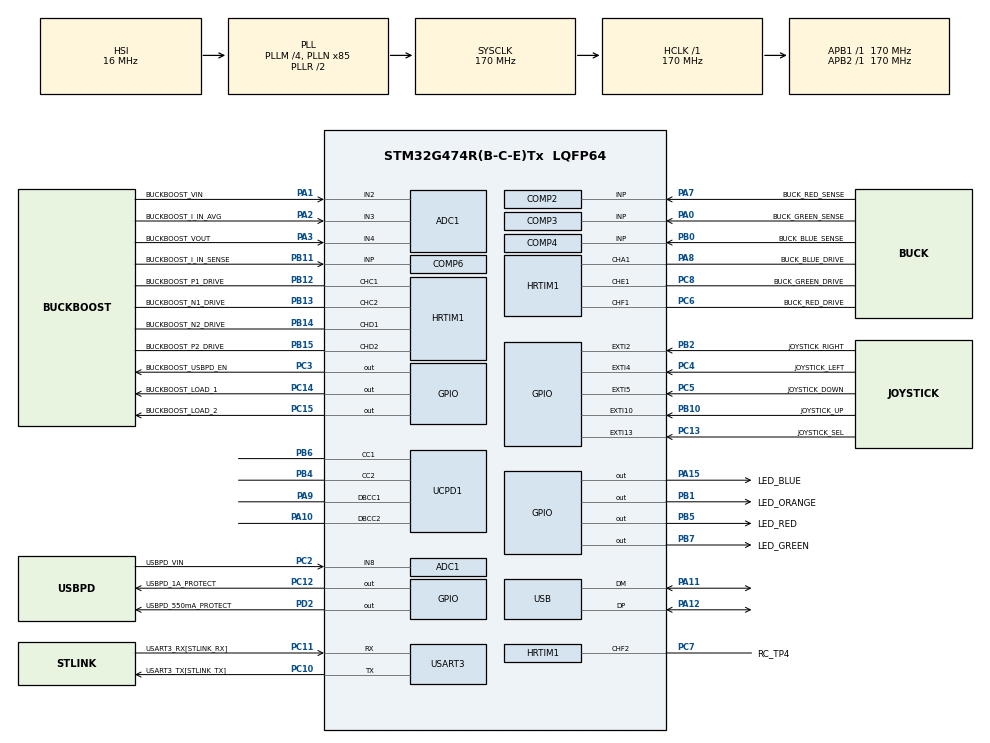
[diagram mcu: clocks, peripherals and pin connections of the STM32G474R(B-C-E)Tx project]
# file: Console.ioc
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ADC1.Channel-0\#ChannelRegularConversion=ADC_CHANNEL_8
ADC1.NbrOfConversionFlag=1
ADC1.OffsetNumber-0\#ChannelRegularConversion=ADC_OFFSET_NONE
ADC1.Rank-0\#ChannelRegularConversion=1
ADC1.SamplingTime-0\#ChannelRegularConversion=ADC_SAMPLETIME_2CYCLES_5
ADC1.master=1
DAC3.DAC_Channel-DAC_OUT2_Int=DAC_CHANNEL_2
FREERTOS.BinarySemaphores01=semUart,Static,semUartControlBlock,Depleted
FREERTOS.Mutexes01=mutexUart,Static,mutexUartControlBlock,Available
FREERTOS.Queues01=queueLogger,32,LogMessage,0,Static,queueLoggerBuffer,queueLoggerControlBlock;queueUart,64,uint8_t,0,Static,queueUartBuffer,queueUartControlBlock
FREERTOS.Tasks01=task0,24,128,startTask0,Default,NULL,Static,task0Buffer,task0ControlBlock;task1,24,128,startTask1,Default,NULL,Static,task1Buffer,task1ControlBlock;task2,24,128,startTask2,Default,NULL,Static,task2Buffer,task2ControlBlock;task3,16,128,startTask3,Default,NULL,Static,task3Buffer,task3ControlBlock;loggerTask,8,256,startLoggerTask,Default,NULL,Static,loggerTaskBuffer,loggerTaskControlBlock;consoleTask,8,128,startConsoleTask,Default,NULL,Static,consoleTaskBuffer,consoleTaskControlBlock
Mcu.Family=STM32G4
Mcu.Name=STM32G474R(B-C-E)Tx
Mcu.Package=LQFP64
NVIC.ADC1_2_IRQn=true\:5\:0\:false\:false\:true\:true\:true\:true\:true
NVIC.EXTI15_10_IRQn=true\:5\:0\:false\:false\:true\:true\:true\:true\:true
NVIC.EXTI2_IRQn=true\:5\:0\:false\:false\:true\:true\:true\:true\:true
NVIC.EXTI4_IRQn=true\:5\:0\:false\:false\:true\:true\:true\:true\:true
NVIC.EXTI9_5_IRQn=true\:5\:0\:false\:false\:true\:true\:true\:true\:true
NVIC.HRTIM1_Master_IRQn=true\:5\:0\:false\:false\:true\:true\:true\:true\:true
NVIC.HRTIM1_TIMF_IRQn=true\:5\:0\:false\:false\:true\:true\:true\:true\:true
NVIC.PriorityGroup=NVIC_PRIORITYGROUP_4
NVIC.TIM6_DAC_IRQn=true\:15\:0\:false\:false\:true\:false\:false\:true\:true
NVIC.TimeBase=TIM6_DAC_IRQn
NVIC.TimeBaseIP=TIM6
NVIC.USART3_IRQn=true\:5\:0\:false\:false\:true\:true\:true\:true\:true
NVIC.USB_HP_IRQn=true\:5\:0\:false\:false\:true\:true\:true\:true\:true
PA0.GPIO_Label=BUCK_GREEN_SENSE
PA0.Mode=INP
PA0.Signal=COMP3_INP
PA1.GPIO_Label=BUCKBOOST_VIN
PA1.Mode=IN2-Single-Ended
PA1.Signal=ADC1_IN2
PA10.Mode=EnableDeadBattery
PA10.Signal=UCPD1_DBCC2
PA11.Mode=Device
PA11.Signal=USB_DM
PA12.Mode=Device
PA12.Signal=USB_DP
PA13.Mode=Serial_Wire
PA13.Signal=SYS_JTMS-SWDIO
PA14.Mode=Serial_Wire
PA14.Signal=SYS_JTCK-SWCLK
PA15.GPIO_Label=LED_BLUE
PA15.Signal=GPIO_Output
PA2.GPIO_Label=BUCKBOOST_I_IN_AVG
PA2.Mode=IN3-Single-Ended
PA2.Signal=ADC1_IN3
PA3.GPIO_Label=BUCKBOOST_VOUT
PA3.Mode=IN4-Single-Ended
PA3.Signal=ADC1_IN4
PA7.GPIO_Label=BUCK_RED_SENSE
PA7.Mode=INP
PA7.Signal=COMP2_INP
PA8.GPIO_Label=BUCK_BLUE_DRIVE
PA8.Mode=Output_TA1
PA8.Signal=HRTIM1_CHA1
PA9.Mode=EnableDeadBattery
PA9.Signal=UCPD1_DBCC1
PB0.GPIO_Label=BUCK_BLUE_SENSE
PB0.Mode=INP
PB0.Signal=COMP4_INP
PB1.GPIO_Label=LED_ORANGE
PB1.Signal=GPIO_Output
PB10.GPIO_Label=JOYSTICK_UP
PB10.GPIO_PuPd=GPIO_PULLUP
PB10.Signal=GPXTI10
PB11.GPIO_Label=BUCKBOOST_I_IN_SENSE
PB11.Mode=INP
PB11.Signal=COMP6_INP
PB12.GPIO_Label=BUCKBOOST_P1_DRIVE
PB12.Mode=Output_TC1TC2
PB12.Signal=HRTIM1_CHC1
PB13.GPIO_Label=BUCKBOOST_N1_DRIVE
PB13.Mode=Output_TC1TC2
PB13.Signal=HRTIM1_CHC2
PB14.GPIO_Label=BUCKBOOST_N2_DRIVE
PB14.Mode=Output_TD1TD2
PB14.Signal=HRTIM1_CHD1
PB15.GPIO_Label=BUCKBOOST_P2_DRIVE
PB15.Mode=Output_TD1TD2
PB15.Signal=HRTIM1_CHD2
PB2.GPIO_Label=JOYSTICK_RIGHT
PB2.GPIO_PuPd=GPIO_PULLUP
PB2.Signal=GPXTI2
PB3.Signal=SYS_JTDO-SWO
PB4.Mode=Sink_AllSignals
PB4.Signal=UCPD1_CC2
PB5.GPIO_Label=LED_RED
PB5.Signal=GPIO_Output
PB6.Mode=Sink_AllSignals
PB6.Signal=UCPD1_CC1
PB7.GPIO_Label=LED_GREEN
PB7.Signal=GPIO_Output
PC10.GPIO_Label=USART3_TX[STLINK_TX]
PC10.GPIO_Speed=GPIO_SPEED_FREQ_MEDIUM
PC10.Mode=Asynchronous
PC10.Signal=USART3_TX
PC11.GPIO_Label=USART3_RX[STLINK_RX]
PC11.GPIO_Speed=GPIO_SPEED_FREQ_MEDIUM
PC11.Mode=Asynchronous
PC11.Signal=USART3_RX
PC12.GPIO_Label=USBPD_1A_PROTECT
PC12.Signal=GPIO_Output
PC13.GPIO_Label=JOYSTICK_SEL
PC13.GPIO_PuPd=GPIO_PULLUP
PC13.Signal=GPXTI13
PC14-OSC32_IN.GPIO_Label=BUCKBOOST_LOAD_1
PC14-OSC32_IN.Signal=GPIO_Output
PC15-OSC32_OUT.GPIO_Label=BUCKBOOST_LOAD_2
PC15-OSC32_OUT.Signal=GPIO_Output
PC2.GPIO_Label=USBPD_VIN
PC2.Mode=IN8-Single-Ended
PC2.Signal=ADC1_IN8
PC3.GPIO_Label=BUCKBOOST_USBPD_EN
PC3.Signal=GPIO_Output
PC4.GPIO_Label=JOYSTICK_LEFT
PC4.GPIO_PuPd=GPIO_PULLUP
PC4.Signal=GPXTI4
PC5.GPIO_Label=JOYSTICK_DOWN
PC5.GPIO_PuPd=GPIO_PULLUP
PC5.Signal=GPXTI5
PC6.GPIO_Label=BUCK_RED_DRIVE
PC6.Mode=Output_TF1TF2
PC6.Signal=HRTIM1_CHF1
PC7.GPIO_Label=RC_TP4
PC7.Mode=Output_TF1TF2
PC7.Signal=HRTIM1_CHF2
PC8.GPIO_Label=BUCK_GREEN_DRIVE
PC8.Mode=Output_TE1
PC8.Signal=HRTIM1_CHE1
PD2.GPIO_Label=USBPD_550mA_PROTECT
PD2.Signal=GPIO_Output
ProjectManager.HeapSize=0x200
ProjectManager.StackSize=0x400
ProjectManager.TargetToolchain=CMake
RCC.ADC12Freq_Value=170000000
RCC.ADC345Freq_Value=170000000
RCC.AHBFreq_Value=170000000
RCC.APB1Freq_Value=170000000
RCC.APB1TimFreq_Value=170000000
RCC.APB2Freq_Value=170000000
RCC.APB2TimFreq_Value=170000000
RCC.CK48CLockSelection=RCC_USBCLKSOURCE_HSI48
RCC.CortexFreq_Value=170000000
RCC.EXTERNAL_CLOCK_VALUE=12288000
RCC.HCLKFreq_Value=170000000
RCC.HSE_VALUE=8000000
RCC.HSI48_VALUE=48000000
RCC.HSI_VALUE=16000000
RCC.LSE_VALUE=32768
RCC.PLLM=RCC_PLLM_DIV4
RCC.PLLN=85
RCC.PLLP=RCC_PLLP_DIV8
RCC.PLLQ=RCC_PLLQ_DIV8
RCC.SYSCLKFreq_VALUE=170000000
RCC.SYSCLKSource=RCC_SYSCLKSOURCE_PLLCLK
RCC.USBFreq_Value=48000000
RCC.VCOOutputFreq_Value=340000000
USART3.ClockPrescaler=PRESCALER_DIV4
USART3.VirtualMode-Asynchronous=VM_ASYNC
USART3.WordLength=WORDLENGTH_8B
VP_COMP2_VS_DAC3OUT2.Mode=INM_DAC3OUT2
VP_COMP3_VS_DAC3OUT1.Mode=INM_DAC3OUT1
VP_COMP4_VS_DAC1OUT1.Mode=INM_DAC1OUT1
VP_COMP6_VS_DAC2OUT1.Mode=INM_DAC2OUT1
VP_DAC1_VS_DACI1.Mode=DAC_OUT1_Int
VP_DAC2_VS_DACI1.Mode=DAC_OUT1_Int
VP_DAC3_VS_DACI1.Mode=DAC_OUT1_Int
VP_DAC3_VS_DACI2.Mode=DAC_OUT2_Int
VP_FREERTOS_VS_CMSIS_V2.Mode=CMSIS_V2
VP_SYS_VS_DBSignals.Mode=DisableDeadBatterySignals
VP_SYS_VS_tim6.Mode=TIM6
board=B-G474E-DPOW1

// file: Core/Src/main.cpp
/* USER CODE BEGIN Header */
/**
 ******************************************************************************
 * @file           : main.c
 * @brief          : Main program body
 ******************************************************************************
 * @attention
 *
 * Copyright (c) 2025 STMicroelectronics.
 * All rights reserved.
 *
 * This software is licensed under terms that can be found in the LICENSE file
 * in the root directory of this software component.
 * If no LICENSE file comes with this software, it is provided AS-IS.
 *
 ******************************************************************************
 */
/* USER CODE END Header */
#include "main.h"
#include "cmsis_os.h"

/* USER CODE BEGIN Includes */

#include "logger.h"
#include "uart.h"
#include "console.h"

/* USER CODE END Includes */

typedef StaticTask_t osStaticThreadDef_t;
typedef StaticQueue_t osStaticMessageQDef_t;
typedef StaticSemaphore_t osStaticMutexDef_t;
typedef StaticSemaphore_t osStaticSemaphoreDef_t;

ADC_HandleTypeDef hadc1;

COMP_HandleTypeDef hcomp2;
COMP_HandleTypeDef hcomp3;
COMP_HandleTypeDef hcomp4;
COMP_HandleTypeDef hcomp6;

DAC_HandleTypeDef hdac1;
DAC_HandleTypeDef hdac2;
DAC_HandleTypeDef hdac3;

HRTIM_HandleTypeDef hhrtim1;

UART_HandleTypeDef huart3;

PCD_HandleTypeDef hpcd_USB_FS;

/* Definitions for task0 */
osThreadId_t task0Handle;
uint32_t task0Buffer[128];
osStaticThreadDef_t task0ControlBlock;
const osThreadAttr_t task0_attributes = {
	.name = "task0",
	.cb_mem = &task0ControlBlock,
	.cb_size = sizeof(task0ControlBlock),
	.stack_mem = &task0Buffer[0],
	.stack_size = sizeof(task0Buffer),
	.priority = (osPriority_t)osPriorityNormal,
};
/* Definitions for task1 */
osThreadId_t task1Handle;
uint32_t task1Buffer[128];
osStaticThreadDef_t task1ControlBlock;
const osThreadAttr_t task1_attributes = {
	.name = "task1",
	.cb_mem = &task1ControlBlock,
	.cb_size = sizeof(task1ControlBlock),
	.stack_mem = &task1Buffer[0],
	.stack_size = sizeof(task1Buffer),
	.priority = (osPriority_t)osPriorityNormal,
};
/* Definitions for task2 */
osThreadId_t task2Handle;
uint32_t task2Buffer[128];
osStaticThreadDef_t task2ControlBlock;
const osThreadAttr_t task2_attributes = {
	.name = "task2",
	.cb_mem = &task2ControlBlock,
	.cb_size = sizeof(task2ControlBlock),
	.stack_mem = &task2Buffer[0],
	.stack_size = sizeof(task2Buffer),
	.priority = (osPriority_t)osPriorityNormal,
};
/* Definitions for task3 */
osThreadId_t task3Handle;
uint32_t task3Buffer[128];
osStaticThreadDef_t task3ControlBlock;
const osThreadAttr_t task3_attributes = {
	.name = "task3",
	.cb_mem = &task3ControlBlock,
	.cb_size = sizeof(task3ControlBlock),
	.stack_mem = &task3Buffer[0],
	.stack_size = sizeof(task3Buffer),
	.priority = (osPriority_t)osPriorityBelowNormal,
};
/* Definitions for loggerTask */
osThreadId_t loggerTaskHandle;
uint32_t loggerTaskBuffer[256];
osStaticThreadDef_t loggerTaskControlBlock;
const osThreadAttr_t loggerTask_attributes = {
	.name = "loggerTask",
	.cb_mem = &loggerTaskControlBlock,
	.cb_size = sizeof(loggerTaskControlBlock),
	.stack_mem = &loggerTaskBuffer[0],
	.stack_size = sizeof(loggerTaskBuffer),
	.priority = (osPriority_t)osPriorityLow,
};
/* Definitions for consoleTask */
osThreadId_t consoleTaskHandle;
uint32_t consoleTaskBuffer[128];
osStaticThreadDef_t consoleTaskControlBlock;
const osThreadAttr_t consoleTask_attributes = {
	.name = "consoleTask",
	.cb_mem = &consoleTaskControlBlock,
	.cb_size = sizeof(consoleTaskControlBlock),
	.stack_mem = &consoleTaskBuffer[0],
	.stack_size = sizeof(consoleTaskBuffer),
	.priority = (osPriority_t)osPriorityLow,
};
/* Definitions for queueLogger */
osMessageQueueId_t queueLoggerHandle;
uint8_t queueLoggerBuffer[32 * sizeof(LogMessage)];
osStaticMessageQDef_t queueLoggerControlBlock;
const osMessageQueueAttr_t queueLogger_attributes = {
	.name = "queueLogger",
	.cb_mem = &queueLoggerControlBlock,
	.cb_size = sizeof(queueLoggerControlBlock),
	.mq_mem = &queueLoggerBuffer,
	.mq_size = sizeof(queueLoggerBuffer)};
/* Definitions for queueUart */
osMessageQueueId_t queueUartHandle;
uint8_t queueUartBuffer[64 * sizeof(uint8_t)];
osStaticMessageQDef_t queueUartControlBlock;
const osMessageQueueAttr_t queueUart_attributes = {
	.name = "queueUart",
	.cb_mem = &queueUartControlBlock,
	.cb_size = sizeof(queueUartControlBlock),
	.mq_mem = &queueUartBuffer,
	.mq_size = sizeof(queueUartBuffer)};
/* Definitions for mutexUart */
osMutexId_t mutexUartHandle;
osStaticMutexDef_t mutexUartControlBlock;
const osMutexAttr_t mutexUart_attributes = {
	.name = "mutexUart",
	.cb_mem = &mutexUartControlBlock,
	.cb_size = sizeof(mutexUartControlBlock),
};
/* Definitions for semUart */
osSemaphoreId_t semUartHandle;
osStaticSemaphoreDef_t semUartControlBlock;
const osSemaphoreAttr_t semUart_attributes = {
	.name = "semUart",
	.cb_mem = &semUartControlBlock,
	.cb_size = sizeof(semUartControlBlock),
};

void SystemClock_Config(void);
static void MX_GPIO_Init(void);
static void MX_ADC1_Init(void);
static void MX_COMP2_Init(void);
static void MX_COMP3_Init(void);
static void MX_COMP4_Init(void);
static void MX_COMP6_Init(void);
static void MX_DAC1_Init(void);
static void MX_DAC2_Init(void);
static void MX_DAC3_Init(void);
static void MX_HRTIM1_Init(void);
static void MX_UCPD1_Init(void);
static void MX_USART3_UART_Init(void);
static void MX_USB_PCD_Init(void);
void startTask0(void *argument);
void startTask1(void *argument);
void startTask2(void *argument);
void startTask3(void *argument);
void startLoggerTask(void *argument);
void startConsoleTask(void *argument);

/* USER CODE BEGIN 0 */

Uart uart(&huart3);
Console console(uart);

extern "C" int _write(int file, char *ptr, int len)
{
	(void)file;
	uart.transmit(ptr, len);
	return len;
}

/* USER CODE END 0 */

int main(void)
{

	/* MCU Configuration--------------------------------------------------------*/

	/* Reset of all peripherals, Initializes the Flash interface and the Systick. */
	HAL_Init();

	/* Configure the system clock */
	SystemClock_Config();

	/* Initialize all configured peripherals */
	MX_GPIO_Init();
	MX_ADC1_Init();
	MX_COMP2_Init();
	MX_COMP3_Init();
	MX_COMP4_Init();
	MX_COMP6_Init();
	MX_DAC1_Init();
	MX_DAC2_Init();
	MX_DAC3_Init();
	MX_HRTIM1_Init();
	MX_UCPD1_Init();
	MX_USART3_UART_Init();
	MX_USB_PCD_Init();
	/* USER CODE BEGIN 2 */

	LOG_init(&queueLoggerHandle);
	uart.setHandleMutexTx(&mutexUartHandle);
	uart.setHandleQueueRx(&queueUartHandle);
	uart.setHandleSemTx(&semUartHandle);
	uart.init();

	/* USER CODE END 2 */

	/* Init scheduler */
	osKernelInitialize();
	/* Create the mutex(es) */
	/* creation of mutexUart */
	mutexUartHandle = osMutexNew(&mutexUart_attributes);

	semUartHandle = osSemaphoreNew(1, 0, &semUart_attributes);

	/* Create the queue(s) */
	/* creation of queueLogger */
	queueLoggerHandle = osMessageQueueNew(32, sizeof(LogMessage), &queueLogger_attributes);

	queueUartHandle = osMessageQueueNew(64, sizeof(uint8_t), &queueUart_attributes);

	/* Create the thread(s) */
	/* creation of task0 */
	task0Handle = osThreadNew(startTask0, NULL, &task0_attributes);

	/* creation of task1 */
	task1Handle = osThreadNew(startTask1, NULL, &task1_attributes);

	/* creation of task2 */
	task2Handle = osThreadNew(startTask2, NULL, &task2_attributes);

	/* creation of task3 */
	task3Handle = osThreadNew(startTask3, NULL, &task3_attributes);

	/* creation of loggerTask */
	loggerTaskHandle = osThreadNew(startLoggerTask, NULL, &loggerTask_attributes);

	consoleTaskHandle = osThreadNew(startConsoleTask, NULL, &consoleTask_attributes);

	/* Start scheduler */
	osKernelStart();

	/* We should never get here as control is now taken by the scheduler */

	/* Infinite loop */
	while (1)
	{

	}
}

void SystemClock_Config(void)
{
	RCC_OscInitTypeDef RCC_OscInitStruct = {0};
	RCC_ClkInitTypeDef RCC_ClkInitStruct = {0};

	/** Configure the main internal regulator output voltage
	 */
	HAL_PWREx_ControlVoltageScaling(PWR_REGULATOR_VOLTAGE_SCALE1_BOOST);

	/** Initializes the RCC Oscillators according to the specified parameters
	 * in the RCC_OscInitTypeDef structure.
	 */
	RCC_OscInitStruct.OscillatorType = RCC_OSCILLATORTYPE_HSI | RCC_OSCILLATORTYPE_HSI48;
	RCC_OscInitStruct.HSIState = RCC_HSI_ON;
	RCC_OscInitStruct.HSICalibrationValue = RCC_HSICALIBRATION_DEFAULT;
	RCC_OscInitStruct.HSI48State = RCC_HSI48_ON;
	RCC_OscInitStruct.PLL.PLLState = RCC_PLL_ON;
	RCC_OscInitStruct.PLL.PLLSource = RCC_PLLSOURCE_HSI;
	RCC_OscInitStruct.PLL.PLLM = RCC_PLLM_DIV4;
	RCC_OscInitStruct.PLL.PLLN = 85;
	RCC_OscInitStruct.PLL.PLLP = RCC_PLLP_DIV8;
	RCC_OscInitStruct.PLL.PLLQ = RCC_PLLQ_DIV8;
	RCC_OscInitStruct.PLL.PLLR = RCC_PLLR_DIV2;
	if (HAL_RCC_OscConfig(&RCC_OscInitStruct) != HAL_OK)
	{
		Error_Handler();
	}

	/** Initializes the CPU, AHB and APB buses clocks
	 */
	RCC_ClkInitStruct.ClockType = RCC_CLOCKTYPE_HCLK | RCC_CLOCKTYPE_SYSCLK | RCC_CLOCKTYPE_PCLK1 | RCC_CLOCKTYPE_PCLK2;
	RCC_ClkInitStruct.SYSCLKSource = RCC_SYSCLKSOURCE_PLLCLK;
	RCC_ClkInitStruct.AHBCLKDivider = RCC_SYSCLK_DIV1;
	RCC_ClkInitStruct.APB1CLKDivider = RCC_HCLK_DIV1;
	RCC_ClkInitStruct.APB2CLKDivider = RCC_HCLK_DIV1;

	if (HAL_RCC_ClockConfig(&RCC_ClkInitStruct, FLASH_LATENCY_4) != HAL_OK)
	{
		Error_Handler();
	}
}

static void MX_ADC1_Init(void)
{

	ADC_MultiModeTypeDef multimode = {0};
	ADC_ChannelConfTypeDef sConfig = {0};

	/** Common config
	 */
	hadc1.Instance = ADC1;
	hadc1.Init.ClockPrescaler = ADC_CLOCK_SYNC_PCLK_DIV4;
	hadc1.Init.Resolution = ADC_RESOLUTION_12B;
	hadc1.Init.DataAlign = ADC_DATAALIGN_RIGHT;
	hadc1.Init.GainCompensation = 0;
	hadc1.Init.ScanConvMode = ADC_SCAN_DISABLE;
	hadc1.Init.EOCSelection = ADC_EOC_SINGLE_CONV;
	hadc1.Init.LowPowerAutoWait = DISABLE;
	hadc1.Init.ContinuousConvMode = DISABLE;
	hadc1.Init.NbrOfConversion = 1;
	hadc1.Init.DiscontinuousConvMode = DISABLE;
	hadc1.Init.ExternalTrigConv = ADC_SOFTWARE_START;
	hadc1.Init.ExternalTrigConvEdge = ADC_EXTERNALTRIGCONVEDGE_NONE;
	hadc1.Init.DMAContinuousRequests = DISABLE;
	hadc1.Init.Overrun = ADC_OVR_DATA_PRESERVED;
	hadc1.Init.OversamplingMode = DISABLE;
	if (HAL_ADC_Init(&hadc1) != HAL_OK)
	{
		Error_Handler();
	}

	/** Configure the ADC multi-mode
	 */
	multimode.Mode = ADC_MODE_INDEPENDENT;
	if (HAL_ADCEx_MultiModeConfigChannel(&hadc1, &multimode) != HAL_OK)
	{
		Error_Handler();
	}

	/** Configure Regular Channel
	 */
	sConfig.Channel = ADC_CHANNEL_8;
	sConfig.Rank = ADC_REGULAR_RANK_1;
	sConfig.SamplingTime = ADC_SAMPLETIME_2CYCLES_5;
	sConfig.SingleDiff = ADC_SINGLE_ENDED;
	sConfig.OffsetNumber = ADC_OFFSET_NONE;
	sConfig.Offset = 0;
	if (HAL_ADC_ConfigChannel(&hadc1, &sConfig) != HAL_OK)
	{
		Error_Handler();
	}
}

static void MX_COMP2_Init(void)
{

	hcomp2.Instance = COMP2;
	hcomp2.Init.InputPlus = COMP_INPUT_PLUS_IO1;
	hcomp2.Init.InputMinus = COMP_INPUT_MINUS_DAC3_CH2;
	hcomp2.Init.OutputPol = COMP_OUTPUTPOL_NONINVERTED;
	hcomp2.Init.Hysteresis = COMP_HYSTERESIS_NONE;
	hcomp2.Init.BlankingSrce = COMP_BLANKINGSRC_NONE;
	hcomp2.Init.TriggerMode = COMP_TRIGGERMODE_NONE;
	if (HAL_COMP_Init(&hcomp2) != HAL_OK)
	{
		Error_Handler();
	}
}

static void MX_COMP3_Init(void)
{

	hcomp3.Instance = COMP3;
	hcomp3.Init.InputPlus = COMP_INPUT_PLUS_IO1;
	hcomp3.Init.InputMinus = COMP_INPUT_MINUS_DAC3_CH1;
	hcomp3.Init.OutputPol = COMP_OUTPUTPOL_NONINVERTED;
	hcomp3.Init.Hysteresis = COMP_HYSTERESIS_NONE;
	hcomp3.Init.BlankingSrce = COMP_BLANKINGSRC_NONE;
	hcomp3.Init.TriggerMode = COMP_TRIGGERMODE_NONE;
	if (HAL_COMP_Init(&hcomp3) != HAL_OK)
	{
		Error_Handler();
	}
}

static void MX_COMP4_Init(void)
{

	hcomp4.Instance = COMP4;
	hcomp4.Init.InputPlus = COMP_INPUT_PLUS_IO1;
	hcomp4.Init.InputMinus = COMP_INPUT_MINUS_DAC1_CH1;
	hcomp4.Init.OutputPol = COMP_OUTPUTPOL_NONINVERTED;
	hcomp4.Init.Hysteresis = COMP_HYSTERESIS_NONE;
	hcomp4.Init.BlankingSrce = COMP_BLANKINGSRC_NONE;
	hcomp4.Init.TriggerMode = COMP_TRIGGERMODE_NONE;
	if (HAL_COMP_Init(&hcomp4) != HAL_OK)
	{
		Error_Handler();
	}
}

static void MX_COMP6_Init(void)
{

	hcomp6.Instance = COMP6;
	hcomp6.Init.InputPlus = COMP_INPUT_PLUS_IO1;
	hcomp6.Init.InputMinus = COMP_INPUT_MINUS_DAC2_CH1;
	hcomp6.Init.OutputPol = COMP_OUTPUTPOL_NONINVERTED;
	hcomp6.Init.Hysteresis = COMP_HYSTERESIS_NONE;
	hcomp6.Init.BlankingSrce = COMP_BLANKINGSRC_NONE;
	hcomp6.Init.TriggerMode = COMP_TRIGGERMODE_NONE;
	if (HAL_COMP_Init(&hcomp6) != HAL_OK)
	{
		Error_Handler();
	}
}

static void MX_DAC1_Init(void)
{

	DAC_ChannelConfTypeDef sConfig = {0};

	/** DAC Initialization
	 */
	hdac1.Instance = DAC1;
	if (HAL_DAC_Init(&hdac1) != HAL_OK)
	{
		Error_Handler();
	}

	/** DAC channel OUT1 config
	 */
	sConfig.DAC_HighFrequency = DAC_HIGH_FREQUENCY_INTERFACE_MODE_AUTOMATIC;
	sConfig.DAC_DMADoubleDataMode = DISABLE;
	sConfig.DAC_SignedFormat = DISABLE;
	sConfig.DAC_SampleAndHold = DAC_SAMPLEANDHOLD_DISABLE;
	sConfig.DAC_Trigger = DAC_TRIGGER_NONE;
	sConfig.DAC_Trigger2 = DAC_TRIGGER_NONE;
	sConfig.DAC_OutputBuffer = DAC_OUTPUTBUFFER_DISABLE;
	sConfig.DAC_ConnectOnChipPeripheral = DAC_CHIPCONNECT_INTERNAL;
	sConfig.DAC_UserTrimming = DAC_TRIMMING_FACTORY;
	if (HAL_DAC_ConfigChannel(&hdac1, &sConfig, DAC_CHANNEL_1) != HAL_OK)
	{
		Error_Handler();
	}
}

static void MX_DAC2_Init(void)
{

	DAC_ChannelConfTypeDef sConfig = {0};

	/** DAC Initialization
	 */
	hdac2.Instance = DAC2;
	if (HAL_DAC_Init(&hdac2) != HAL_OK)
	{
		Error_Handler();
	}

	/** DAC channel OUT1 config
	 */
	sConfig.DAC_HighFrequency = DAC_HIGH_FREQUENCY_INTERFACE_MODE_AUTOMATIC;
	sConfig.DAC_DMADoubleDataMode = DISABLE;
	sConfig.DAC_SignedFormat = DISABLE;
	sConfig.DAC_SampleAndHold = DAC_SAMPLEANDHOLD_DISABLE;
	sConfig.DAC_Trigger = DAC_TRIGGER_NONE;
	sConfig.DAC_Trigger2 = DAC_TRIGGER_NONE;
	sConfig.DAC_OutputBuffer = DAC_OUTPUTBUFFER_DISABLE;
	sConfig.DAC_ConnectOnChipPeripheral = DAC_CHIPCONNECT_INTERNAL;
	sConfig.DAC_UserTrimming = DAC_TRIMMING_FACTORY;
	if (HAL_DAC_ConfigChannel(&hdac2, &sConfig, DAC_CHANNEL_1) != HAL_OK)
	{
		Error_Handler();
	}
}

static void MX_DAC3_Init(void)
{

	DAC_ChannelConfTypeDef sConfig = {0};

	/** DAC Initialization
	 */
	hdac3.Instance = DAC3;
	if (HAL_DAC_Init(&hdac3) != HAL_OK)
	{
		Error_Handler();
	}

	/** DAC channel OUT1 config
	 */
	sConfig.DAC_HighFrequency = DAC_HIGH_FREQUENCY_INTERFACE_MODE_AUTOMATIC;
	sConfig.DAC_DMADoubleDataMode = DISABLE;
	sConfig.DAC_SignedFormat = DISABLE;
	sConfig.DAC_SampleAndHold = DAC_SAMPLEANDHOLD_DISABLE;
	sConfig.DAC_Trigger = DAC_TRIGGER_NONE;
	sConfig.DAC_Trigger2 = DAC_TRIGGER_NONE;
	sConfig.DAC_OutputBuffer = DAC_OUTPUTBUFFER_DISABLE;
	sConfig.DAC_ConnectOnChipPeripheral = DAC_CHIPCONNECT_INTERNAL;
	sConfig.DAC_UserTrimming = DAC_TRIMMING_FACTORY;
	if (HAL_DAC_ConfigChannel(&hdac3, &sConfig, DAC_CHANNEL_1) != HAL_OK)
	{
		Error_Handler();
	}

	/** DAC channel OUT2 config
	 */
	if (HAL_DAC_ConfigChannel(&hdac3, &sConfig, DAC_CHANNEL_2) != HAL_OK)
	{
		Error_Handler();
	}
}

static void MX_HRTIM1_Init(void)
{

	HRTIM_TimeBaseCfgTypeDef pTimeBaseCfg = {0};
	HRTIM_TimerCtlTypeDef pTimerCtl = {0};
	HRTIM_TimerCfgTypeDef pTimerCfg = {0};
	HRTIM_OutputCfgTypeDef pOutputCfg = {0};

	hhrtim1.Instance = HRTIM1;
	hhrtim1.Init.HRTIMInterruptResquests = HRTIM_IT_NONE;
	hhrtim1.Init.SyncOptions = HRTIM_SYNCOPTION_NONE;
	if (HAL_HRTIM_Init(&hhrtim1) != HAL_OK)
	{
		Error_Handler();
	}
	if (HAL_HRTIM_DLLCalibrationStart(&hhrtim1, HRTIM_CALIBRATIONRATE_3) != HAL_OK)
	{
		Error_Handler();
	}
	if (HAL_HRTIM_PollForDLLCalibration(&hhrtim1, 10) != HAL_OK)
	{
		Error_Handler();
	}
	pTimeBaseCfg.Period = 0xFFDF;
	pTimeBaseCfg.RepetitionCounter = 0x00;
	pTimeBaseCfg.PrescalerRatio = HRTIM_PRESCALERRATIO_MUL32;
	pTimeBaseCfg.Mode = HRTIM_MODE_CONTINUOUS;
	if (HAL_HRTIM_TimeBaseConfig(&hhrtim1, HRTIM_TIMERINDEX_TIMER_A, &pTimeBaseCfg) != HAL_OK)
	{
		Error_Handler();
	}
	pTimerCtl.UpDownMode = HRTIM_TIMERUPDOWNMODE_UP;
	pTimerCtl.DualChannelDacEnable = HRTIM_TIMER_DCDE_DISABLED;
	if (HAL_HRTIM_WaveformTimerControl(&hhrtim1, HRTIM_TIMERINDEX_TIMER_A, &pTimerCtl) != HAL_OK)
	{
		Error_Handler();
	}
	pTimerCfg.InterruptRequests = HRTIM_TIM_IT_NONE;
	pTimerCfg.DMARequests = HRTIM_TIM_DMA_NONE;
	pTimerCfg.DMASrcAddress = 0x0000;
	pTimerCfg.DMADstAddress = 0x0000;
	pTimerCfg.DMASize = 0x1;
	pTimerCfg.HalfModeEnable = HRTIM_HALFMODE_DISABLED;
	pTimerCfg.InterleavedMode = HRTIM_INTERLEAVED_MODE_DISABLED;
	pTimerCfg.StartOnSync = HRTIM_SYNCSTART_DISABLED;
	pTimerCfg.ResetOnSync = HRTIM_SYNCRESET_DISABLED;
	pTimerCfg.DACSynchro = HRTIM_DACSYNC_NONE;
	pTimerCfg.PreloadEnable = HRTIM_PRELOAD_DISABLED;
	pTimerCfg.UpdateGating = HRTIM_UPDATEGATING_INDEPENDENT;
	pTimerCfg.BurstMode = HRTIM_TIMERBURSTMODE_MAINTAINCLOCK;
	pTimerCfg.RepetitionUpdate = HRTIM_UPDATEONREPETITION_DISABLED;
	pTimerCfg.PushPull = HRTIM_TIMPUSHPULLMODE_DISABLED;
	pTimerCfg.FaultEnable = HRTIM_TIMFAULTENABLE_NONE;
	pTimerCfg.FaultLock = HRTIM_TIMFAULTLOCK_READWRITE;
	pTimerCfg.DeadTimeInsertion = HRTIM_TIMDEADTIMEINSERTION_DISABLED;
	pTimerCfg.DelayedProtectionMode = HRTIM_TIMER_A_B_C_DELAYEDPROTECTION_DISABLED;
	pTimerCfg.UpdateTrigger = HRTIM_TIMUPDATETRIGGER_NONE;
	pTimerCfg.ResetTrigger = HRTIM_TIMRESETTRIGGER_NONE;
	pTimerCfg.ResetUpdate = HRTIM_TIMUPDATEONRESET_DISABLED;
	pTimerCfg.ReSyncUpdate = HRTIM_TIMERESYNC_UPDATE_UNCONDITIONAL;
	if (HAL_HRTIM_WaveformTimerConfig(&hhrtim1, HRTIM_TIMERINDEX_TIMER_A, &pTimerCfg) != HAL_OK)
	{
		Error_Handler();
	}
	if (HAL_HRTIM_WaveformTimerConfig(&hhrtim1, HRTIM_TIMERINDEX_TIMER_C, &pTimerCfg) != HAL_OK)
	{
		Error_Handler();
	}
	pTimerCfg.DelayedProtectionMode = HRTIM_TIMER_D_E_DELAYEDPROTECTION_DISABLED;
	if (HAL_HRTIM_WaveformTimerConfig(&hhrtim1, HRTIM_TIMERINDEX_TIMER_D, &pTimerCfg) != HAL_OK)
	{
		Error_Handler();
	}
	if (HAL_HRTIM_WaveformTimerConfig(&hhrtim1, HRTIM_TIMERINDEX_TIMER_E, &pTimerCfg) != HAL_OK)
	{
		Error_Handler();
	}
	pTimerCfg.DelayedProtectionMode = HRTIM_TIMER_F_DELAYEDPROTECTION_DISABLED;
	if (HAL_HRTIM_WaveformTimerConfig(&hhrtim1, HRTIM_TIMERINDEX_TIMER_F, &pTimerCfg) != HAL_OK)
	{
		Error_Handler();
	}
	pOutputCfg.Polarity = HRTIM_OUTPUTPOLARITY_HIGH;
	pOutputCfg.SetSource = HRTIM_OUTPUTSET_NONE;
	pOutputCfg.ResetSource = HRTIM_OUTPUTRESET_NONE;
	pOutputCfg.IdleMode = HRTIM_OUTPUTIDLEMODE_NONE;
	pOutputCfg.IdleLevel = HRTIM_OUTPUTIDLELEVEL_INACTIVE;
	pOutputCfg.FaultLevel = HRTIM_OUTPUTFAULTLEVEL_NONE;
	pOutputCfg.ChopperModeEnable = HRTIM_OUTPUTCHOPPERMODE_DISABLED;
	pOutputCfg.BurstModeEntryDelayed = HRTIM_OUTPUTBURSTMODEENTRY_REGULAR;
	if (HAL_HRTIM_WaveformOutputConfig(&hhrtim1, HRTIM_TIMERINDEX_TIMER_A, HRTIM_OUTPUT_TA1, &pOutputCfg) != HAL_OK)
	{
		Error_Handler();
	}
	if (HAL_HRTIM_WaveformOutputConfig(&hhrtim1, HRTIM_TIMERINDEX_TIMER_C, HRTIM_OUTPUT_TC1, &pOutputCfg) != HAL_OK)
	{
		Error_Handler();
	}
	if (HAL_HRTIM_WaveformOutputConfig(&hhrtim1, HRTIM_TIMERINDEX_TIMER_D, HRTIM_OUTPUT_TD1, &pOutputCfg) != HAL_OK)
	{
		Error_Handler();
	}
	if (HAL_HRTIM_WaveformOutputConfig(&hhrtim1, HRTIM_TIMERINDEX_TIMER_E, HRTIM_OUTPUT_TE1, &pOutputCfg) != HAL_OK)
	{
		Error_Handler();
	}
	if (HAL_HRTIM_WaveformOutputConfig(&hhrtim1, HRTIM_TIMERINDEX_TIMER_F, HRTIM_OUTPUT_TF1, &pOutputCfg) != HAL_OK)
	{
		Error_Handler();
	}
	if (HAL_HRTIM_TimeBaseConfig(&hhrtim1, HRTIM_TIMERINDEX_TIMER_C, &pTimeBaseCfg) != HAL_OK)
	{
		Error_Handler();
	}
	if (HAL_HRTIM_WaveformTimerControl(&hhrtim1, HRTIM_TIMERINDEX_TIMER_C, &pTimerCtl) != HAL_OK)
	{
		Error_Handler();
	}
	if (HAL_HRTIM_WaveformOutputConfig(&hhrtim1, HRTIM_TIMERINDEX_TIMER_C, HRTIM_OUTPUT_TC2, &pOutputCfg) != HAL_OK)
	{
		Error_Handler();
	}
	if (HAL_HRTIM_WaveformOutputConfig(&hhrtim1, HRTIM_TIMERINDEX_TIMER_D, HRTIM_OUTPUT_TD2, &pOutputCfg) != HAL_OK)
	{
		Error_Handler();
	}
	if (HAL_HRTIM_WaveformOutputConfig(&hhrtim1, HRTIM_TIMERINDEX_TIMER_F, HRTIM_OUTPUT_TF2, &pOutputCfg) != HAL_OK)
	{
		Error_Handler();
	}
	if (HAL_HRTIM_TimeBaseConfig(&hhrtim1, HRTIM_TIMERINDEX_TIMER_D, &pTimeBaseCfg) != HAL_OK)
	{
		Error_Handler();
	}
	if (HAL_HRTIM_WaveformTimerControl(&hhrtim1, HRTIM_TIMERINDEX_TIMER_D, &pTimerCtl) != HAL_OK)
	{
		Error_Handler();
	}
	if (HAL_HRTIM_TimeBaseConfig(&hhrtim1, HRTIM_TIMERINDEX_TIMER_E, &pTimeBaseCfg) != HAL_OK)
	{
		Error_Handler();
	}
	if (HAL_HRTIM_WaveformTimerControl(&hhrtim1, HRTIM_TIMERINDEX_TIMER_E, &pTimerCtl) != HAL_OK)
	{
		Error_Handler();
	}
	if (HAL_HRTIM_TimeBaseConfig(&hhrtim1, HRTIM_TIMERINDEX_TIMER_F, &pTimeBaseCfg) != HAL_OK)
	{
		Error_Handler();
	}
	if (HAL_HRTIM_WaveformTimerControl(&hhrtim1, HRTIM_TIMERINDEX_TIMER_F, &pTimerCtl) != HAL_OK)
	{
		Error_Handler();
	}
	HAL_HRTIM_MspPostInit(&hhrtim1);
}

static void MX_UCPD1_Init(void)
{

	LL_GPIO_InitTypeDef GPIO_InitStruct = {0};

	/* Peripheral clock enable */
	LL_APB1_GRP2_EnableClock(LL_APB1_GRP2_PERIPH_UCPD1);

	LL_AHB2_GRP1_EnableClock(LL_AHB2_GRP1_PERIPH_GPIOB);
	/**UCPD1 GPIO Configuration
	PB4   ------> UCPD1_CC2
	PB6   ------> UCPD1_CC1
	*/
	GPIO_InitStruct.Pin = LL_GPIO_PIN_4;
	GPIO_InitStruct.Mode = LL_GPIO_MODE_ANALOG;
	GPIO_InitStruct.Pull = LL_GPIO_PULL_NO;
	LL_GPIO_Init(GPIOB, &GPIO_InitStruct);

	GPIO_InitStruct.Pin = LL_GPIO_PIN_6;
	GPIO_InitStruct.Mode = LL_GPIO_MODE_ANALOG;
	GPIO_InitStruct.Pull = LL_GPIO_PULL_NO;
	LL_GPIO_Init(GPIOB, &GPIO_InitStruct);

}

static void MX_USART3_UART_Init(void)
{

	huart3.Instance = USART3;
	huart3.Init.BaudRate = 115200;
	huart3.Init.WordLength = UART_WORDLENGTH_8B;
	huart3.Init.StopBits = UART_STOPBITS_1;
	huart3.Init.Parity = UART_PARITY_NONE;
	huart3.Init.Mode = UART_MODE_TX_RX;
	huart3.Init.HwFlowCtl = UART_HWCONTROL_NONE;
	huart3.Init.OverSampling = UART_OVERSAMPLING_16;
	huart3.Init.OneBitSampling = UART_ONE_BIT_SAMPLE_DISABLE;
	huart3.Init.ClockPrescaler = UART_PRESCALER_DIV4;
	huart3.AdvancedInit.AdvFeatureInit = UART_ADVFEATURE_NO_INIT;
	if (HAL_UART_Init(&huart3) != HAL_OK)
	{
		Error_Handler();
	}
	if (HAL_UARTEx_SetTxFifoThreshold(&huart3, UART_TXFIFO_THRESHOLD_1_8) != HAL_OK)
	{
		Error_Handler();
	}
	if (HAL_UARTEx_SetRxFifoThreshold(&huart3, UART_RXFIFO_THRESHOLD_1_8) != HAL_OK)
	{
		Error_Handler();
	}
	if (HAL_UARTEx_DisableFifoMode(&huart3) != HAL_OK)
	{
		Error_Handler();
	}
}

static void MX_USB_PCD_Init(void)
{

	hpcd_USB_FS.Instance = USB;
	hpcd_USB_FS.Init.dev_endpoints = 8;
	hpcd_USB_FS.Init.speed = PCD_SPEED_FULL;
	hpcd_USB_FS.Init.phy_itface = PCD_PHY_EMBEDDED;
	hpcd_USB_FS.Init.Sof_enable = DISABLE;
	hpcd_USB_FS.Init.low_power_enable = DISABLE;
	hpcd_USB_FS.Init.lpm_enable = DISABLE;
	hpcd_USB_FS.Init.battery_charging_enable = DISABLE;
	if (HAL_PCD_Init(&hpcd_USB_FS) != HAL_OK)
	{
		Error_Handler();
	}
}

static void MX_GPIO_Init(void)
{
	GPIO_InitTypeDef GPIO_InitStruct = {0};

	/* GPIO Ports Clock Enable */
	__HAL_RCC_GPIOC_CLK_ENABLE();
	__HAL_RCC_GPIOA_CLK_ENABLE();
	__HAL_RCC_GPIOB_CLK_ENABLE();
	__HAL_RCC_GPIOD_CLK_ENABLE();

	/*Configure GPIO pin Output Level */
	HAL_GPIO_WritePin(GPIOC, BUCKBOOST_LOAD_1_Pin | BUCKBOOST_LOAD_2_Pin | BUCKBOOST_USBPD_EN_Pin | USBPD_1A_PROTECT_Pin, GPIO_PIN_RESET);

	/*Configure GPIO pin Output Level */
	HAL_GPIO_WritePin(GPIOB, LED_ORANGE_Pin | LED_RED_Pin | LED_GREEN_Pin, GPIO_PIN_RESET);

	/*Configure GPIO pin Output Level */
	HAL_GPIO_WritePin(LED_BLUE_GPIO_Port, LED_BLUE_Pin, GPIO_PIN_RESET);

	/*Configure GPIO pin Output Level */
	HAL_GPIO_WritePin(USBPD_550mA_PROTECT_GPIO_Port, USBPD_550mA_PROTECT_Pin, GPIO_PIN_RESET);

	/*Configure GPIO pins : JOYSTICK_SEL_Pin JOYSTICK_LEFT_Pin JOYSTICK_DOWN_Pin */
	GPIO_InitStruct.Pin = JOYSTICK_SEL_Pin | JOYSTICK_LEFT_Pin | JOYSTICK_DOWN_Pin;
	GPIO_InitStruct.Mode = GPIO_MODE_IT_RISING;
	GPIO_InitStruct.Pull = GPIO_PULLUP;
	HAL_GPIO_Init(GPIOC, &GPIO_InitStruct);

	/*Configure GPIO pins : BUCKBOOST_LOAD_1_Pin BUCKBOOST_LOAD_2_Pin BUCKBOOST_USBPD_EN_Pin USBPD_1A_PROTECT_Pin */
	GPIO_InitStruct.Pin = BUCKBOOST_LOAD_1_Pin | BUCKBOOST_LOAD_2_Pin | BUCKBOOST_USBPD_EN_Pin | USBPD_1A_PROTECT_Pin;
	GPIO_InitStruct.Mode = GPIO_MODE_OUTPUT_PP;
	GPIO_InitStruct.Pull = GPIO_NOPULL;
	GPIO_InitStruct.Speed = GPIO_SPEED_FREQ_LOW;
	HAL_GPIO_Init(GPIOC, &GPIO_InitStruct);

	/*Configure GPIO pins : LED_ORANGE_Pin LED_RED_Pin LED_GREEN_Pin */
	GPIO_InitStruct.Pin = LED_ORANGE_Pin | LED_RED_Pin | LED_GREEN_Pin;
	GPIO_InitStruct.Mode = GPIO_MODE_OUTPUT_PP;
	GPIO_InitStruct.Pull = GPIO_NOPULL;
	GPIO_InitStruct.Speed = GPIO_SPEED_FREQ_LOW;
	HAL_GPIO_Init(GPIOB, &GPIO_InitStruct);

	/*Configure GPIO pins : JOYSTICK_RIGHT_Pin JOYSTICK_UP_Pin */
	GPIO_InitStruct.Pin = JOYSTICK_RIGHT_Pin | JOYSTICK_UP_Pin;
	GPIO_InitStruct.Mode = GPIO_MODE_IT_RISING;
	GPIO_InitStruct.Pull = GPIO_PULLUP;
	HAL_GPIO_Init(GPIOB, &GPIO_InitStruct);

	/*Configure GPIO pin : LED_BLUE_Pin */
	GPIO_InitStruct.Pin = LED_BLUE_Pin;
	GPIO_InitStruct.Mode = GPIO_MODE_OUTPUT_PP;
	GPIO_InitStruct.Pull = GPIO_NOPULL;
	GPIO_InitStruct.Speed = GPIO_SPEED_FREQ_LOW;
	HAL_GPIO_Init(LED_BLUE_GPIO_Port, &GPIO_InitStruct);

	/*Configure GPIO pin : USBPD_550mA_PROTECT_Pin */
	GPIO_InitStruct.Pin = USBPD_550mA_PROTECT_Pin;
	GPIO_InitStruct.Mode = GPIO_MODE_OUTPUT_PP;
	GPIO_InitStruct.Pull = GPIO_NOPULL;
	GPIO_InitStruct.Speed = GPIO_SPEED_FREQ_LOW;
	HAL_GPIO_Init(USBPD_550mA_PROTECT_GPIO_Port, &GPIO_InitStruct);

	/* EXTI interrupt init*/
	HAL_NVIC_SetPriority(EXTI2_IRQn, 5, 0);
	HAL_NVIC_EnableIRQ(EXTI2_IRQn);

	HAL_NVIC_SetPriority(EXTI4_IRQn, 5, 0);
	HAL_NVIC_EnableIRQ(EXTI4_IRQn);

	HAL_NVIC_SetPriority(EXTI9_5_IRQn, 5, 0);
	HAL_NVIC_EnableIRQ(EXTI9_5_IRQn);

	HAL_NVIC_SetPriority(EXTI15_10_IRQn, 5, 0);
	HAL_NVIC_EnableIRQ(EXTI15_10_IRQn);

}

/* USER CODE BEGIN 4 */

void HAL_UART_TxCpltCallback(UART_HandleTypeDef *huart)
{
	uart.handleTxInterrupt(huart);
}

void HAL_UART_RxCpltCallback(UART_HandleTypeDef *huart)
{
	uart.handleRxInterrupt(huart);
}

/* USER CODE END 4 */

void startTask0(void *argument)
{
	/* USER CODE BEGIN 5 */
	osDelay(200);
	/* Infinite loop */
	for (;;)
	{
		HAL_GPIO_TogglePin(LED_BLUE_GPIO_Port, LED_BLUE_Pin);
		// LOG_INFO("blue LED toggled");
		osDelay(500); // Toggle LED every 500 ms
	}
	/* USER CODE END 5 */
}

void startTask1(void *argument)
{
	/* USER CODE BEGIN startTask1 */
	osDelay(400);
	/* Infinite loop */
	for (;;)
	{
		HAL_GPIO_TogglePin(LED_GREEN_GPIO_Port, LED_GREEN_Pin);
		// LOG_INFO("green LED toggled");
		osDelay(500); // Toggle LED every 500 ms
	}
	/* USER CODE END startTask1 */
}

void startTask2(void *argument)
{
	/* USER CODE BEGIN startTask2 */
	osDelay(600);
	/* Infinite loop */
	for (;;)
	{
		HAL_GPIO_TogglePin(LED_RED_GPIO_Port, LED_RED_Pin);
		// LOG_INFO("red LED toggled");
		osDelay(500); // Toggle LED every 500 ms
	}
	/* USER CODE END startTask2 */
}

void startTask3(void *argument)
{
	/* USER CODE BEGIN startTask3 */
	osDelay(800);
	/* Infinite loop */
	for (;;)
	{
		HAL_GPIO_TogglePin(LED_ORANGE_GPIO_Port, LED_ORANGE_Pin);
		// LOG_INFO("orange LED toggled");
		osDelay(500); // Toggle LED every 500 ms
	}
	/* USER CODE END startTask3 */
}

void startLoggerTask(void *argument)
{
	/* USER CODE BEGIN startLoggerTask */
	/* Infinite loop */
	for (;;)
	{
		LOG_task();
	}
	/* USER CODE END startLoggerTask */
}

void startConsoleTask(void *argument)
{
	for (;;)
	{
		console.run();
		osDelay(10); // Allow other tasks to run
	}
	/* USER CODE END startConsoleTask */
}

void HAL_TIM_PeriodElapsedCallback(TIM_HandleTypeDef *htim)
{
	if (htim->Instance == TIM6)
	{
		HAL_IncTick();
	}
}

void Error_Handler(void)
{
	__disable_irq();
	while (1)
	{
	}
}
